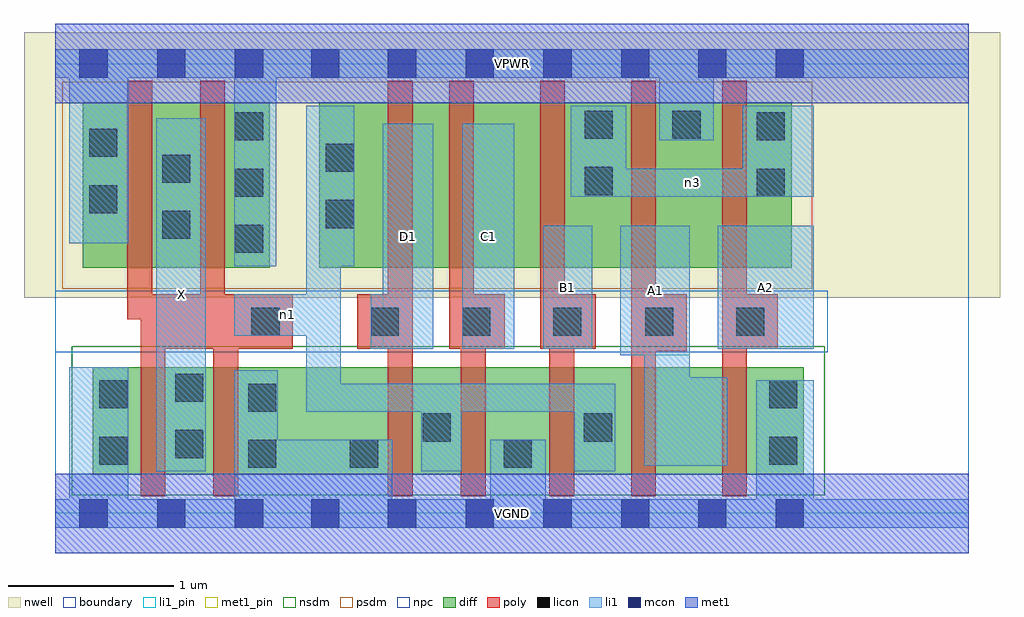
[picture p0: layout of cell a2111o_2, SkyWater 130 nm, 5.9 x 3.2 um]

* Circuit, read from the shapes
.subckt a2111o_2 A1 A2 B1 C1 D1 VGND VPWR X n1 n3
XM1 X n1 VGND VSUBS sky130_fd_pr__nfet_01v8 w=0.65 l=0.15 m=2
XM2 n1 D1 VGND VSUBS sky130_fd_pr__nfet_01v8 w=0.65 l=0.15
XM3 VGND C1 n1 VSUBS sky130_fd_pr__nfet_01v8 w=0.65 l=0.15
XM4 n1 B1 VGND VSUBS sky130_fd_pr__nfet_01v8 w=0.65 l=0.15
XM5 n2 A1 n1 VSUBS sky130_fd_pr__nfet_01v8 w=0.65 l=0.15
XM6 VGND A2 n2 VSUBS sky130_fd_pr__nfet_01v8 w=0.65 l=0.15
XM7 X n1 VPWR n4 sky130_fd_pr__pfet_01v8 w=1 l=0.15 m=2
XM8 n5 D1 n1 n4 sky130_fd_pr__pfet_01v8 w=1 l=0.15
XM9 n6 C1 n5 n4 sky130_fd_pr__pfet_01v8 w=1 l=0.15
XM10 n3 B1 n6 n4 sky130_fd_pr__pfet_01v8 w=1 l=0.15
XM11 VPWR A1 n3 n4 sky130_fd_pr__pfet_01v8 w=1 l=0.15
XM12 n3 A2 VPWR n4 sky130_fd_pr__pfet_01v8 w=1 l=0.15
.ends

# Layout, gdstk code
import gdstk
lib = gdstk.Library(unit=1e-6, precision=1e-09)
def R(c, l, rs):  # rectangles x0, y0, x1, y1
    for r in rs: c.add(gdstk.rectangle(r[:2], r[2:], *l))
def A(c, l, x, y, w, h, nx, ny, dx, dy):  # array of equal rectangles
    R(c, l, [(x+i*dx, y+j*dy, x+i*dx+w, y+j*dy+h) for i in range(nx) for j in range(ny)])
nwell = (64, 20)
diff = (65, 20)
poly = (66, 20)
licon = (66, 44)
li1_pin = (67, 16)
li1 = (67, 20)
mcon = (67, 44)
met1_pin = (68, 16)
met1 = (68, 20)
nsdm = (93, 44)
psdm = (94, 20)
npc = (95, 20)
boundary = (235, 4)

a2111o_2 = lib.new_cell('a2111o_2')
R(a2111o_2, nwell, [(-0.19,1.305,5.71,2.91), (0,1.305,5.52,2.91)])
R(a2111o_2, diff, [(0.225,0.235,4.525,0.885), (0.165,1.485,1.295,2.485), (1.595,1.485,4.45,2.485)])
R(a2111o_2, poly, [(0.515,0.105,0.665,1.325), (0.955,0.105,1.105,1.325), (2.01,0.105,2.16,2.615), (2.45,0.105,2.6,1.325), (2.985,0.105,3.135,1.325), (3.48,0.105,3.63,2.615), (4.03,0.105,4.18,2.615), (3.48,0.98,3.815,1.325), (0.515,0.995,1.435,1.325), (0.875,0.995,1.025,2.615), (1.825,0.995,2.16,1.325), (2.38,0.995,2.53,2.615), (2.38,0.995,2.715,1.325), (2.93,0.995,3.08,2.615), (2.93,0.995,3.265,1.325), (4.03,0.995,4.365,1.325), (0.435,1.175,0.585,2.615)])
A(a2111o_2, licon, 1.085, 1.575, 0.17, 0.17, 1, 3, 0, 0.34)
R(a2111o_2, licon, [(1.165,0.275,1.335,0.445), (1.78,0.275,1.95,0.445), (2.71,0.275,2.88,0.445), (0.265,0.295,0.435,0.465), (4.315,0.295,4.485,0.465), (0.725,0.335,0.895,0.505), (2.22,0.435,2.39,0.605), (3.195,0.435,3.365,0.605), (1.165,0.615,1.335,0.785), (0.265,0.635,0.435,0.805), (4.315,0.635,4.485,0.805), (0.725,0.675,0.895,0.845), (1.185,1.075,1.355,1.245), (1.905,1.075,2.075,1.245), (2.46,1.075,2.63,1.245), (3.01,1.075,3.18,1.245), (3.565,1.075,3.735,1.245), (4.115,1.075,4.285,1.245), (0.645,1.66,0.815,1.83), (1.635,1.725,1.805,1.895), (0.205,1.815,0.375,1.985), (4.24,1.915,4.41,2.085), (3.2,1.925,3.37,2.095), (0.645,2,0.815,2.17), (1.635,2.065,1.805,2.235), (0.205,2.155,0.375,2.325), (4.24,2.255,4.41,2.425), (3.2,2.265,3.37,2.435), (3.73,2.265,3.9,2.435)])
R(a2111o_2, li1_pin, [(0.61,0.255,0.91,2.39), (3.415,0.955,3.835,1.74), (1.98,0.995,2.285,2.355), (2.46,0.995,2.775,2.355), (2.95,0.995,3.245,1.74), (4.005,0.995,4.585,1.74)])
R(a2111o_2, li1, [(0,-0.085,5.52,0.085), (0.085,-0.085,0.44,0.885), (1.08,-0.085,2.035,0.445), (1.08,-0.085,1.345,0.865), (2.63,-0.085,2.965,0.445), (4.235,-0.085,4.585,0.805), (0.61,0.255,0.91,2.39), (2.21,0.255,2.455,0.785), (3.135,0.255,3.385,0.785), (3.56,0.29,3.835,1.74), (3.56,0.29,4.06,0.825), (1.515,0.615,1.725,2.465), (1.515,0.615,3.385,0.785), (3.415,0.955,3.835,1.74), (1.905,0.995,2.285,1.325), (1.98,0.995,2.285,2.355), (2.46,0.995,2.775,2.355), (2.95,0.995,3.245,1.74), (4.005,0.995,4.585,1.74), (1.08,1.075,1.725,1.325), (1.08,1.495,1.335,2.805), (1.515,1.495,1.805,2.465), (0.085,1.635,0.44,2.805), (3.115,1.915,4.585,2.085), (3.115,1.915,3.45,2.465), (4.155,1.915,4.585,2.465), (3.65,2.255,3.98,2.805), (0,2.635,5.52,2.805)])
A(a2111o_2, mcon, 0.145, -0.085, 0.17, 0.17, 3, 2, 0.47, 2.72)
A(a2111o_2, mcon, 2.01, -0.085, 0.17, 0.17, 4, 2, 0.47, 2.72)
R(a2111o_2, mcon, [(1.545,-0.085,1.715,0.085), (3.885,-0.085,4.055,0.085), (4.355,-0.085,4.525,0.085), (1.545,2.635,1.715,2.805), (3.885,2.635,4.055,2.805), (4.355,2.635,4.525,2.805)])
R(a2111o_2, met1_pin, [(0,-0.24,5.52,0.24), (0,2.48,5.52,2.96)])
R(a2111o_2, met1, [(0,-0.24,5.52,0.24), (0,2.48,5.52,2.96)])
R(a2111o_2, nsdm, [(0.1,0.11,4.65,1.01)])
R(a2111o_2, psdm, [(0.04,1.36,4.575,2.61)])
R(a2111o_2, npc, [(0,0.975,4.67,1.345)])
R(a2111o_2, boundary, [(0,0,5.52,2.72)])
a2111o_2.add(gdstk.Label('A1', (3.625,1.347), layer=67, texttype=5))
a2111o_2.add(gdstk.Label('A2', (4.295,1.367), layer=67, texttype=5))
a2111o_2.add(gdstk.Label('B1', (3.097,1.367), layer=67, texttype=5))
a2111o_2.add(gdstk.Label('C1', (2.617,1.675), layer=67, texttype=5))
a2111o_2.add(gdstk.Label('D1', (2.132,1.675), layer=67, texttype=5))
a2111o_2.add(gdstk.Label('X', (0.76,1.322), layer=67, texttype=5))
a2111o_2.add(gdstk.Label('n1', (1.402,1.2), layer=67, texttype=5))
a2111o_2.add(gdstk.Label('n3', (3.85,2), layer=67, texttype=5))
a2111o_2.add(gdstk.Label('VPWR', (2.76,2.72), layer=68, texttype=5))
a2111o_2.add(gdstk.Label('VGND', (2.76,0), layer=68, texttype=5))
a2111o_2.add(gdstk.Label('A1', (3.625,1.347), layer=67, texttype=16))
a2111o_2.add(gdstk.Label('A2', (4.295,1.367), layer=67, texttype=16))
a2111o_2.add(gdstk.Label('B1', (3.097,1.367), layer=67, texttype=16))
a2111o_2.add(gdstk.Label('C1', (2.617,1.675), layer=67, texttype=16))
a2111o_2.add(gdstk.Label('D1', (2.132,1.675), layer=67, texttype=16))
a2111o_2.add(gdstk.Label('X', (0.76,1.322), layer=67, texttype=16))
a2111o_2.add(gdstk.Label('VPWR', (2.76,2.72), layer=68, texttype=16))
a2111o_2.add(gdstk.Label('VGND', (2.76,0), layer=68, texttype=16))

lib.write_gds('a2111o_2.gds')
